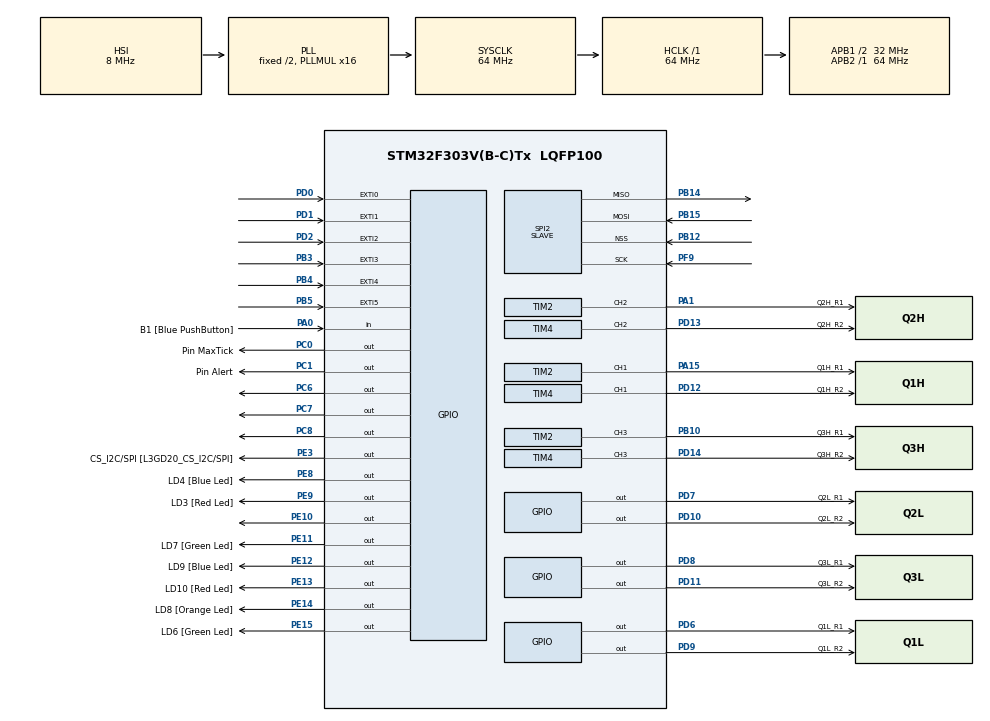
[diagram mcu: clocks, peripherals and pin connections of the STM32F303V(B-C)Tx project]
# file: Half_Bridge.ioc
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Mcu.Family=STM32F3
Mcu.Name=STM32F303V(B-C)Tx
Mcu.Package=LQFP100
NVIC.EXTI0_IRQn=true\:0\:0\:false\:false\:true\:true\:true\:true
NVIC.EXTI1_IRQn=true\:0\:0\:false\:false\:true\:true\:true\:true
NVIC.EXTI2_TSC_IRQn=true\:0\:0\:false\:false\:true\:true\:true\:true
NVIC.EXTI3_IRQn=true\:0\:0\:false\:false\:true\:true\:true\:true
NVIC.EXTI4_IRQn=true\:0\:0\:false\:false\:true\:true\:true\:true
NVIC.PriorityGroup=NVIC_PRIORITYGROUP_0
NVIC.SPI2_IRQn=true\:0\:0\:false\:false\:true\:true\:true\:true
PA0.GPIO_Label=B1 [Blue PushButton]
PA0.GPIO_Mode=GPIO_MODE_INPUT
PA0.GPIO_PuPd=GPIO_NOPULL
PA0.Signal=GPIO_Input
PA1.GPIO_Label=Q2H_R1
PA1.GPIO_ModeDefaultPP=GPIO_MODE_AF_PP
PA1.GPIO_PuPd=GPIO_PULLUP
PA1.Signal=S_TIM2_CH2
PA11.GPIO_Label=DM
PA11.Signal=USB_DM
PA12.GPIO_Label=DP
PA12.Signal=USB_DP
PA13.GPIO_Label=SWDIO
PA13.Signal=SYS_JTMS-SWDIO
PA14.GPIO_Label=SWCLK
PA14.Signal=SYS_JTCK-SWCLK
PA15.GPIO_Label=Q1H_R1
PA15.GPIO_ModeDefaultPP=GPIO_MODE_AF_PP
PA15.GPIO_PuPd=GPIO_PULLUP
PA15.Signal=S_TIM2_CH1_ETR
PA5.GPIO_Label=SPI1_SCK [L3GD20_SCL/SPC]
PA5.GPIO_Mode=GPIO_MODE_AF_PP
PA5.GPIO_PuPd=GPIO_NOPULL
PA5.GPIO_Speed=GPIO_SPEED_FREQ_LOW
PA5.Signal=SPI1_SCK
PA6.GPIO_Label=SPI1_MISO [L3GD20_SA0/SDO]
PA6.GPIO_Mode=GPIO_MODE_AF_PP
PA6.GPIO_PuPd=GPIO_NOPULL
PA6.GPIO_Speed=GPIO_SPEED_FREQ_LOW
PA6.Signal=SPI1_MISO
PA7.GPIO_Label=SPI1_MISO [L3GD20_SDA/SDI/SDO]
PA7.GPIO_Mode=GPIO_MODE_AF_PP
PA7.GPIO_PuPd=GPIO_NOPULL
PA7.GPIO_Speed=GPIO_SPEED_FREQ_LOW
PA7.Signal=SPI1_MOSI
PB10.GPIO_Label=Q3H_R1
PB10.GPIO_ModeDefaultPP=GPIO_MODE_AF_PP
PB10.GPIO_PuPd=GPIO_PULLUP
PB10.Signal=S_TIM2_CH3
PB12.GPIO_PuPd=GPIO_PULLUP
PB12.Mode=NSS_Signal_Hard_Input
PB12.Signal=SPI2_NSS
PB14.GPIO_PuPd=GPIO_PULLDOWN
PB14.Mode=Full_Duplex_Slave
PB14.Signal=SPI2_MISO
PB15.GPIO_PuPd=GPIO_PULLDOWN
PB15.Mode=Full_Duplex_Slave
PB15.Signal=SPI2_MOSI
PB3.GPIO_ModeDefaultEXTI=GPIO_MODE_IT_RISING_FALLING
PB3.GPIO_PuPd=GPIO_PULLUP
PB3.Signal=GPXTI3
PB4.GPIO_ModeDefaultEXTI=GPIO_MODE_IT_RISING_FALLING
PB4.GPIO_PuPd=GPIO_PULLUP
PB4.Signal=GPXTI4
PB5.GPIO_ModeDefaultEXTI=GPIO_MODE_IT_RISING_FALLING
PB5.GPIO_PuPd=GPIO_PULLUP
PB5.Signal=GPXTI5
PB6.GPIO_FM6=__NULL
PB6.GPIO_Label=I2C1_SCL [LSM303DLHC_SCL]
PB6.GPIO_Mode=GPIO_MODE_AF_OD
PB6.GPIO_PuPd=GPIO_NOPULL
PB6.GPIO_Speed=GPIO_SPEED_FREQ_LOW
PB6.Signal=I2C1_SCL
PB7.GPIO_FM7=__NULL
PB7.GPIO_Label=I2C1_SDA [LSM303DLHC_SDA]
PB7.GPIO_Mode=GPIO_MODE_AF_OD
PB7.GPIO_PuPd=GPIO_NOPULL
PB7.GPIO_Speed=GPIO_SPEED_FREQ_LOW
PB7.Signal=I2C1_SDA
PC0.GPIO_Label=Pin MaxTick
PC0.GPIO_PuPd=GPIO_PULLDOWN
PC0.Signal=GPIO_Output
PC1.GPIO_Label=Pin Alert
PC1.GPIO_PuPd=GPIO_PULLDOWN
PC1.Signal=GPIO_Output
PC14-OSC32_IN.GPIO_Label=OSC32_IN
PC14-OSC32_IN.Signal=RCC_OSC32_IN
PC15-OSC32_OUT.GPIO_Label=OSC32_OUT
PC15-OSC32_OUT.Signal=RCC_OSC32_OUT
PC6.Signal=GPIO_Output
PC7.Signal=GPIO_Output
PC8.Signal=GPIO_Output
PD0.GPIO_ModeDefaultEXTI=GPIO_MODE_IT_RISING_FALLING
PD0.GPIO_PuPd=GPIO_PULLUP
PD0.Signal=GPXTI0
PD1.GPIO_ModeDefaultEXTI=GPIO_MODE_IT_RISING_FALLING
PD1.GPIO_PuPd=GPIO_PULLUP
PD1.Signal=GPXTI1
PD10.GPIO_Label=Q2L_R2
PD10.Signal=GPIO_Output
PD11.GPIO_Label=Q3L_R2
PD11.Signal=GPIO_Output
PD12.GPIO_Label=Q1H_R2
PD12.Signal=S_TIM4_CH1
PD13.GPIO_Label=Q2H_R2
PD13.Signal=S_TIM4_CH2
PD14.GPIO_Label=Q3H_R2
PD14.Signal=S_TIM4_CH3
PD2.GPIO_ModeDefaultEXTI=GPIO_MODE_IT_RISING_FALLING
PD2.GPIO_PuPd=GPIO_PULLUP
PD2.Signal=GPXTI2
PD6.GPIO_Label=Q1L_R1
PD6.Signal=GPIO_Output
PD7.GPIO_Label=Q2L_R1
PD7.Signal=GPIO_Output
PD8.GPIO_Label=Q3L_R1
PD8.Signal=GPIO_Output
PD9.GPIO_Label=Q1L_R2
PD9.Signal=GPIO_Output
PE10.Signal=GPIO_Output
PE11.GPIO_Label=LD7 [Green Led]
PE11.GPIO_ModeDefaultOutputPP=GPIO_MODE_OUTPUT_PP
PE11.GPIO_PuPd=GPIO_NOPULL
PE11.GPIO_Speed=GPIO_SPEED_FREQ_LOW
PE11.Signal=GPIO_Output
PE12.GPIO_Label=LD9 [Blue Led]
PE12.GPIO_ModeDefaultOutputPP=GPIO_MODE_OUTPUT_PP
PE12.GPIO_PuPd=GPIO_NOPULL
PE12.GPIO_Speed=GPIO_SPEED_FREQ_LOW
PE12.Signal=GPIO_Output
PE13.GPIO_Label=LD10 [Red Led]
PE13.GPIO_ModeDefaultOutputPP=GPIO_MODE_OUTPUT_PP
PE13.GPIO_PuPd=GPIO_NOPULL
PE13.GPIO_Speed=GPIO_SPEED_FREQ_LOW
PE13.Signal=GPIO_Output
PE14.GPIO_Label=LD8 [Orange Led]
PE14.GPIO_ModeDefaultOutputPP=GPIO_MODE_OUTPUT_PP
PE14.GPIO_PuPd=GPIO_NOPULL
PE14.GPIO_Speed=GPIO_SPEED_FREQ_LOW
PE14.Signal=GPIO_Output
PE15.GPIO_Label=LD6 [Green Led]
PE15.GPIO_ModeDefaultOutputPP=GPIO_MODE_OUTPUT_PP
PE15.GPIO_PuPd=GPIO_NOPULL
PE15.GPIO_Speed=GPIO_SPEED_FREQ_LOW
PE15.Signal=GPIO_Output
PE3.GPIO_Label=CS_I2C/SPI [L3GD20_CS_I2C/SPI]
PE3.GPIO_ModeDefaultOutputPP=GPIO_MODE_OUTPUT_PP
PE3.GPIO_PuPd=GPIO_NOPULL
PE3.GPIO_Speed=GPIO_SPEED_FREQ_LOW
PE3.Signal=GPIO_Output
PE8.GPIO_Label=LD4 [Blue Led]
PE8.GPIO_ModeDefaultOutputPP=GPIO_MODE_OUTPUT_PP
PE8.GPIO_PuPd=GPIO_NOPULL
PE8.GPIO_Speed=GPIO_SPEED_FREQ_LOW
PE8.Signal=GPIO_Output
PE9.GPIO_Label=LD3 [Red Led]
PE9.GPIO_ModeDefaultOutputPP=GPIO_MODE_OUTPUT_PP
PE9.GPIO_PuPd=GPIO_NOPULL
PE9.GPIO_Speed=GPIO_SPEED_FREQ_LOW
PE9.Signal=GPIO_Output
PF0-OSC_IN.GPIO_Label=OSC_IN
PF0-OSC_IN.Signal=RCC_OSC_IN
PF1-OSC_OUT.GPIO_Label=OSC_OUT
PF1-OSC_OUT.Signal=RCC_OSC_OUT
PF9.GPIO_PuPd=GPIO_PULLDOWN
PF9.Mode=Full_Duplex_Slave
PF9.Signal=SPI2_SCK
ProjectManager.HeapSize=0x200
ProjectManager.StackSize=0x400
ProjectManager.TargetToolchain=STM32CubeIDE
RCC.AHBFreq_Value=64000000
RCC.APB1CLKDivider=RCC_HCLK_DIV2
RCC.APB1Freq_Value=32000000
RCC.APB1TimFreq_Value=64000000
RCC.APB2Freq_Value=64000000
RCC.APB2TimFreq_Value=64000000
RCC.CortexFreq_Value=64000000
RCC.HCLKFreq_Value=64000000
RCC.HSE_VALUE=8000000
RCC.HSI_VALUE=8000000
RCC.LSE_VALUE=32768
RCC.PLLMUL=RCC_PLL_MUL16
RCC.SYSCLKFreq_VALUE=64000000
RCC.SYSCLKSourceVirtual=RCC_SYSCLKSOURCE_PLLCLK
RCC.USBFreq_Value=64000000
SH.S_TIM2_CH1_ETR.0=TIM2_CH1,PWM Generation1 CH1
SH.S_TIM2_CH2.0=TIM2_CH2,PWM Generation2 CH2
SH.S_TIM2_CH3.0=TIM2_CH3,PWM Generation3 CH3
SH.S_TIM4_CH1.0=TIM4_CH1,PWM Generation1 CH1
SH.S_TIM4_CH2.0=TIM4_CH2,PWM Generation2 CH2
SH.S_TIM4_CH3.0=TIM4_CH3,PWM Generation3 CH3
SPI2.DataSize=SPI_DATASIZE_8BIT
SPI2.Direction=SPI_DIRECTION_2LINES
SPI2.Mode=SPI_MODE_SLAVE
SPI2.VirtualNSS=VM_NSSHARD
SPI2.VirtualType=VM_SLAVE
TIM2.AutoReloadPreload=TIM_AUTORELOAD_PRELOAD_ENABLE
TIM2.Channel-PWM\ Generation1\ CH1=TIM_CHANNEL_1
TIM2.Channel-PWM\ Generation2\ CH2=TIM_CHANNEL_2
TIM2.Channel-PWM\ Generation3\ CH3=TIM_CHANNEL_3
TIM2.Period=49
TIM2.Prescaler=63
TIM2.Pulse-PWM\ Generation1\ CH1=0
TIM2.Pulse-PWM\ Generation2\ CH2=0
TIM2.Pulse-PWM\ Generation3\ CH3=0
TIM4.AutoReloadPreload=TIM_AUTORELOAD_PRELOAD_ENABLE
TIM4.Channel-PWM\ Generation1\ CH1=TIM_CHANNEL_1
TIM4.Channel-PWM\ Generation2\ CH2=TIM_CHANNEL_2
TIM4.Channel-PWM\ Generation3\ CH3=TIM_CHANNEL_3
TIM4.Period=49
TIM4.Prescaler=63
VP_TIM2_VS_ClockSourceINT.Mode=Internal
VP_TIM4_VS_ClockSourceINT.Mode=Internal
board=STM32F3DISCOVERY

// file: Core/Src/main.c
/* USER CODE BEGIN Header */
/**
  ******************************************************************************
  * @file           : main.c
  * @brief          : Main program body
  ******************************************************************************
  * @attention
  *
  * Copyright (c) 2024 STMicroelectronics.
  * All rights reserved.
  *
  * This software is licensed under terms that can be found in the LICENSE file
  * in the root directory of this software component.
  * If no LICENSE file comes with this software, it is provided AS-IS.
  *
  ******************************************************************************
  */
/* USER CODE END Header */
#include "main.h"
#include "spi.h"
#include "tim.h"
#include "gpio.h"

/* USER CODE BEGIN Includes */
#include "../Sequenceur_Driver/SequencerWheel.h"
#include "..\Inc\GestionMvt.h"
#include "..\Inc\SPI_Config.h"

/* USER CODE END Includes */

/* USER CODE BEGIN PV */
//Initalize Hall sensor for verityTable
/*uint16_t oldHallSensor_R1 = 0x0007;
uint16_t oldHallSensor_R2 = 0x0028;*/
uint16_t hallSensor_R1 = 0;
uint16_t hallSensor_R2 = 0;
/*uint8_t rotation_R1 = 1;
uint8_t rotation_R2 = 1;
uint8_t DC_R1 = 0;
uint8_t DC_R2 = 0;
uint32_t speed_R1 = 24;
uint32_t speed_R2 = 24;
uint16_t tick_R1 = 0;
uint16_t tick_R2 = 0;
uint8_t bstop = 0;*/
uint8_t counter = 0;
uint8_t pData[3];
uint16_t size = 3;
uint8_t res0 = 0;
uint8_t res1 = 0;
uint8_t res2 = 0;

/* USER CODE END PV */

void SystemClock_Config(void);

int main(void)
{

  /* MCU Configuration--------------------------------------------------------*/

  /* Reset of all peripherals, Initializes the Flash interface and the Systick. */
  HAL_Init();

  /* Configure the system clock */
  SystemClock_Config();

  /* Initialize all configured peripherals */
  MX_GPIO_Init();
  MX_TIM2_Init();
  MX_TIM4_Init();
  MX_SPI2_Init();
  /* USER CODE BEGIN 2 */
  HAL_TIM_PWM_Start(&htim2, TIM_CHANNEL_1);
  HAL_TIM_PWM_Start(&htim2, TIM_CHANNEL_2);
  HAL_TIM_PWM_Start(&htim2, TIM_CHANNEL_3);
  HAL_TIM_PWM_Start(&htim4, TIM_CHANNEL_1);
  HAL_TIM_PWM_Start(&htim4, TIM_CHANNEL_2);
  HAL_TIM_PWM_Start(&htim4, TIM_CHANNEL_3);
  resetOutput_R1();
  resetOutput_R2();
  HAL_SPI_Receive_IT(&hspi2, pData,size);
  //globalSettings.bstop = 1;
  /*hallSensor_R1 = GPIOD->IDR & 0x0007;
  hallSensor_R2 = GPIOD->IDR & 0x0028;
  verityTableHoraire_R1(hallSensor_R1);
  verityTableHoraire_R2(hallSensor_R2);*/
  //startRobot();
  /* USER CODE END 2 */

  /* Infinite loop */
  /* USER CODE BEGIN WHILE */
  while (1)
  {		/*HAL_Delay(5000);
	    startRobot();
  	  	HAL_Delay(5000);
  	    stopRobot();
  	    settings_R2.rotation = 0;
		HAL_Delay(5000);
		startRobot();
		HAL_Delay(5000);
		stopRobot();*/
  	    //variableModification(1,1,4,4);*/
	/*if (HAL_GPIO_ReadPin(GPIOC, GPIO_PIN_1) == GPIO_PIN_SET){
		globalSettings.bstop = 1;
	}*/
	/*if (settings_R1.tick >= 63000 || settings_R2.tick  >= 63000){
		globalSettings.bstop = 1;
		HAL_GPIO_WritePin(GPIOC, GPIO_PIN_0, GPIO_PIN_SET);
	}
	if (settings_R1.flagTick == 1){
		settings_R1.flagTick = 0;
		send_SPI_message(&hspi2,3,settings_R1.tick);
		HAL_SPI_Receive_IT(&hspi2, pData,size);
	}
	if (settings_R2.flagTick == 1){
		settings_R2.flagTick = 0;
		send_SPI_message(&hspi2,3,settings_R2.tick);
		HAL_SPI_Receive_IT(&hspi2, pData,size);
	}*/

	  /*HAL_Delay(100);
	  int stater = GPIOD->IDR & 0x0007;

	  switch (stater){
	  	// Phase 1 in to 2
	  	case 5 :
	  		HAL_GPIO_WritePin(GPIOC, GPIO_PIN_8, GPIO_PIN_RESET);
	  		break;
	  	// Phase 2
	  	case 1 :
	  		HAL_GPIO_WritePin(GPIOC, GPIO_PIN_7, GPIO_PIN_SET);
	  		break;
	  	// Phase 3
	  	case 3 :
	  		HAL_GPIO_WritePin(GPIOC, GPIO_PIN_6, GPIO_PIN_RESET);
	  		break;
	  	// Phase 4
	  	case 2 :
	  		HAL_GPIO_WritePin(GPIOC, GPIO_PIN_8, GPIO_PIN_SET);
	  		break;
	  	// Phase 5
	  	case 6 :
	  		HAL_GPIO_WritePin(GPIOC, GPIO_PIN_7, GPIO_PIN_RESET);
	  		break;
	  	// Phase 6
	  	case 4 :
	  		HAL_GPIO_WritePin(GPIOC, GPIO_PIN_6, GPIO_PIN_SET);
	  		break;

	  	default :
	  		break;
	  }
	   */
	  //testFunction(50);

    /* USER CODE END WHILE */

  }
}

void SystemClock_Config(void)
{
  RCC_OscInitTypeDef RCC_OscInitStruct = {0};
  RCC_ClkInitTypeDef RCC_ClkInitStruct = {0};

  /** Initializes the RCC Oscillators according to the specified parameters
  * in the RCC_OscInitTypeDef structure.
  */
  RCC_OscInitStruct.OscillatorType = RCC_OSCILLATORTYPE_HSI;
  RCC_OscInitStruct.HSIState = RCC_HSI_ON;
  RCC_OscInitStruct.HSICalibrationValue = RCC_HSICALIBRATION_DEFAULT;
  RCC_OscInitStruct.PLL.PLLState = RCC_PLL_ON;
  RCC_OscInitStruct.PLL.PLLSource = RCC_PLLSOURCE_HSI;
  RCC_OscInitStruct.PLL.PLLMUL = RCC_PLL_MUL16;
  if (HAL_RCC_OscConfig(&RCC_OscInitStruct) != HAL_OK)
  {
    Error_Handler();
  }

  /** Initializes the CPU, AHB and APB buses clocks
  */
  RCC_ClkInitStruct.ClockType = RCC_CLOCKTYPE_HCLK|RCC_CLOCKTYPE_SYSCLK
                              |RCC_CLOCKTYPE_PCLK1|RCC_CLOCKTYPE_PCLK2;
  RCC_ClkInitStruct.SYSCLKSource = RCC_SYSCLKSOURCE_PLLCLK;
  RCC_ClkInitStruct.AHBCLKDivider = RCC_SYSCLK_DIV1;
  RCC_ClkInitStruct.APB1CLKDivider = RCC_HCLK_DIV2;
  RCC_ClkInitStruct.APB2CLKDivider = RCC_HCLK_DIV1;

  if (HAL_RCC_ClockConfig(&RCC_ClkInitStruct, FLASH_LATENCY_2) != HAL_OK)
  {
    Error_Handler();
  }
}

/* USER CODE BEGIN 4 */
/* Fonction mise en mvt robot
 *
 *
 *
*/

void modif_DC(void)
{
  //The duty cycle value is a percentage of the reload register value (ARR). Rounding is used.*/
	settings_R1.speedMax = (uint32_t)(htim4.Instance->ARR) * (settings_R1.DC *0.1);
	settings_R2.speedMax = (uint32_t)(htim4.Instance->ARR) * (settings_R2.DC *0.1);
 /*In case of the DC being calculated as higher than the reload register, cap it to the reload register*/
 if(settings_R1.speedMax > htim2.Instance->ARR)
 {
	 settings_R1.speedMax = htim2.Instance->ARR;
 }
 if(settings_R2.speedMax> htim4.Instance->ARR)
 {
	 settings_R2.speedMax= htim4.Instance->ARR;
 }

}

void HAL_GPIO_EXTI_Callback(uint16_t GPIO_Pin)
{
	if (globalSettings.bstop == 0) {
		hallSensor_R1 = GPIOD->IDR & 0x0007;
		hallSensor_R2 = GPIOB->IDR & 0x0038;
		/*if (settings_R1.oldHallSensor != hallSensor_R1) {
			settings_R1.tick++;

		}
		if (settings_R2.oldHallSensor != hallSensor_R2){
			settings_R2.tick++;
		}*/

		if (settings_R1.rotation == 1) {
			verityTableHoraire_R1(hallSensor_R1);
		}
		else{
			verityTableHoraireAntiHoraire_R1(hallSensor_R1);
		}
		if (settings_R2.rotation == 0) {
			verityTableHoraire_R2(hallSensor_R2);
		}
		else{
			verityTableHoraireAntiHoraire_R2(hallSensor_R2);
		}
	}
}

/* Fonction réception/envoi SPI
 *
 *
 *
*/

void HAL_SPI_RxCpltCallback(SPI_HandleTypeDef * hspi){
	if (hspi ->Instance == SPI2){
		SPI_data_processing(pData);
		/*if ((settings_R1.flagTick == 0) &(settings_R2.flagTick == 0)){
			HAL_SPI_Receive_IT(&hspi2, pData,size);
		}*/
		HAL_SPI_Receive_IT(hspi, pData,size);
	}

}

void HAL_SPI_ErrorCallback(SPI_HandleTypeDef * hspi)
{
	HAL_SPI_Receive_IT(hspi, pData,size);
}
/* USER CODE END 4 */

void Error_Handler(void)
{
  __disable_irq();
  while (1)
  {
  }
}
